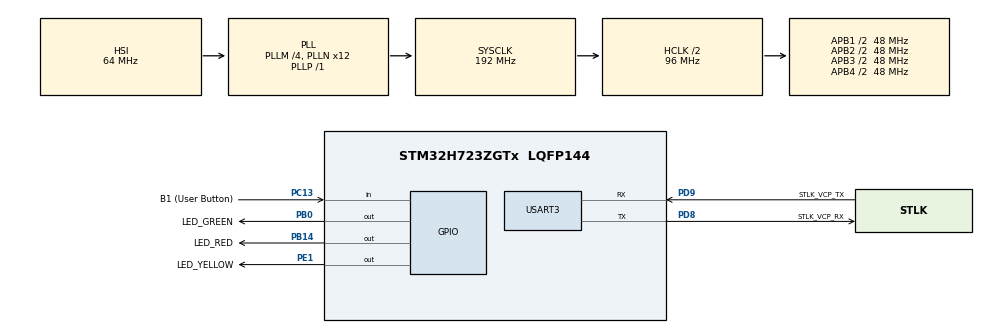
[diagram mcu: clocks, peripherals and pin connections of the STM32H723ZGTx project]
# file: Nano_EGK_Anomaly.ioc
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CORTEX_M7.default_mode_Activation=1
Mcu.Family=STM32H7
Mcu.Name=STM32H723ZGTx
Mcu.Package=LQFP144
NVIC.PriorityGroup=NVIC_PRIORITYGROUP_4
NVIC.USART3_IRQn=true\:0\:0\:false\:false\:true\:true\:true\:true
PA13(JTMS/SWDIO).GPIO_Label=SWDIO
PA13(JTMS/SWDIO).Signal=DEBUG_JTMS-SWDIO
PA14(JTCK/SWCLK).GPIO_Label=SWCLK
PA14(JTCK/SWCLK).Signal=DEBUG_JTCK-SWCLK
PB0.GPIO_Label=LED_GREEN
PB0.Signal=GPIO_Output
PB14.GPIO_Label=LED_RED
PB14.Signal=GPIO_Output
PC13.GPIO_Label=B1 (User Button)
PC13.Signal=GPIO_Input
PC14-OSC32_IN.Signal=RCC_OSC32_IN
PC15-OSC32_OUT.Signal=RCC_OSC32_OUT
PD8.GPIO_Label=STLK_VCP_RX
PD8.Mode=Asynchronous
PD8.Signal=USART3_TX
PD9.GPIO_Label=STLK_VCP_TX
PD9.Mode=Asynchronous
PD9.Signal=USART3_RX
PE1.GPIO_Label=LED_YELLOW
PE1.Signal=GPIO_Output
PH0-OSC_IN.Mode=HSE-External-Oscillator
PH0-OSC_IN.Signal=RCC_OSC_IN
PH1-OSC_OUT.Mode=HSE-External-Oscillator
PH1-OSC_OUT.Signal=RCC_OSC_OUT
ProjectManager.HeapSize=0x1000
ProjectManager.StackSize=0x1000
ProjectManager.TargetToolchain=STM32CubeIDE
RCC.ADCFreq_Value=608000000
RCC.APB1Freq_Value=48000000
RCC.APB2Freq_Value=48000000
RCC.APB3Freq_Value=48000000
RCC.APB4Freq_Value=48000000
RCC.CortexFreq_Value=192000000
RCC.D1PPRE=RCC_APB3_DIV2
RCC.D2PPRE1=RCC_APB1_DIV2
RCC.D2PPRE2=RCC_APB2_DIV2
RCC.D3PPRE=RCC_APB4_DIV2
RCC.DIVM1=4
RCC.DIVM2=1
RCC.DIVN1=12
RCC.DIVN2=19
RCC.DIVP1=1
RCC.DIVQ1=4
RCC.HCLKFreq_Value=96000000
RCC.HPRE=RCC_HCLK_DIV2
RCC.HSE_VALUE=8000000
RCC.PLLFRACN=0
RCC.SYSCLKFreq_VALUE=192000000
RCC.SYSCLKSource=RCC_SYSCLKSOURCE_PLLCLK
RCC.USBCLockSelection=RCC_USBCLKSOURCE_HSI48
RCC.USBFreq_Value=48000000
USART3.VirtualMode-Asynchronous=VM_ASYNC
VP_MEMORYMAP_VS_MEMORYMAP.Mode=CurAppReg
board=NUCLEO-H723ZG

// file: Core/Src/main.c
/* USER CODE BEGIN Header */
/**
  ******************************************************************************
  * @file           : main.c
  * @brief          : Main program body
  ******************************************************************************
  * @attention
  *
  * Copyright (c) 2025 STMicroelectronics.
  * All rights reserved.
  *
  * This software is licensed under terms that can be found in the LICENSE file
  * in the root directory of this software component.
  * If no LICENSE file comes with this software, it is provided AS-IS.
  *
  ******************************************************************************
  */
/* USER CODE END Header */
#include "main.h"

/* USER CODE BEGIN Includes */
#include "NanoEdgeAI.h"
#include "stdio.h"
#include "string.h"
/* USER CODE END Includes */

/* USER CODE BEGIN PM */
#define DATA_INPUT_USER 140
/* USER CODE END PM */

UART_HandleTypeDef huart3;

/* USER CODE BEGIN PV */

// USART3 receive buffer
static float EKG_Input[DATA_INPUT_USER];// pass to model
static uint8_t rx_chunk[4];           // Temporary buffer to hold 4 bytes of one float
static uint16_t ekg_index = 0;        // Index into EKG_Input
extern float training_data[][DATA_INPUT_USER];
extern size_t training_data_len;
/* USER CODE END PV */

void SystemClock_Config(void);
static void MPU_Config(void);
static void MX_GPIO_Init(void);
static void MX_USART3_UART_Init(void);
/* USER CODE BEGIN PFP */
enum neai_state train_model();
/* USER CODE END PFP */

int main(void)
{

  /* MPU Configuration--------------------------------------------------------*/
  MPU_Config();

  /* MCU Configuration--------------------------------------------------------*/

  /* Reset of all peripherals, Initializes the Flash interface and the Systick. */
  HAL_Init();

  /* Configure the system clock */
  SystemClock_Config();

  /* Initialize all configured peripherals */
  MX_GPIO_Init();
  MX_USART3_UART_Init();

  /* Infinite loop */
  /* USER CODE BEGIN WHILE */
  if (train_model() != NEAI_MINIMAL_RECOMMENDED_LEARNING_DONE) {
	  HAL_UART_Abort_IT(&huart3);
	  __HAL_UART_DISABLE_IT(&huart3, UART_IT_RXNE);
  } else {
  // Start UART receive in interrupt mode
	  // Request the next 4 bytes (one float)
	  HAL_StatusTypeDef hal_ret = HAL_UART_Receive_IT(&huart3, rx_chunk, sizeof(rx_chunk));

	  if(hal_ret != HAL_OK) {
		  //printf("receiveIT failed %d", hal_ret);
		  return 0;
	  }
  }

  while (1)
  {
    /* USER CODE END WHILE */

  }
}

void SystemClock_Config(void)
{
  RCC_OscInitTypeDef RCC_OscInitStruct = {0};
  RCC_ClkInitTypeDef RCC_ClkInitStruct = {0};

  /** Supply configuration update enable
  */
  HAL_PWREx_ConfigSupply(PWR_LDO_SUPPLY);

  /** Configure the main internal regulator output voltage
  */
  __HAL_PWR_VOLTAGESCALING_CONFIG(PWR_REGULATOR_VOLTAGE_SCALE2);

  while(!__HAL_PWR_GET_FLAG(PWR_FLAG_VOSRDY)) {}

  /** Initializes the RCC Oscillators according to the specified parameters
  * in the RCC_OscInitTypeDef structure.
  */
  RCC_OscInitStruct.OscillatorType = RCC_OSCILLATORTYPE_HSI;
  RCC_OscInitStruct.HSIState = RCC_HSI_DIV1;
  RCC_OscInitStruct.HSICalibrationValue = 64;
  RCC_OscInitStruct.PLL.PLLState = RCC_PLL_ON;
  RCC_OscInitStruct.PLL.PLLSource = RCC_PLLSOURCE_HSI;
  RCC_OscInitStruct.PLL.PLLM = 4;
  RCC_OscInitStruct.PLL.PLLN = 12;
  RCC_OscInitStruct.PLL.PLLP = 1;
  RCC_OscInitStruct.PLL.PLLQ = 4;
  RCC_OscInitStruct.PLL.PLLR = 2;
  RCC_OscInitStruct.PLL.PLLRGE = RCC_PLL1VCIRANGE_3;
  RCC_OscInitStruct.PLL.PLLVCOSEL = RCC_PLL1VCOWIDE;
  RCC_OscInitStruct.PLL.PLLFRACN = 0;
  if (HAL_RCC_OscConfig(&RCC_OscInitStruct) != HAL_OK)
  {
    Error_Handler();
  }

  /** Initializes the CPU, AHB and APB buses clocks
  */
  RCC_ClkInitStruct.ClockType = RCC_CLOCKTYPE_HCLK|RCC_CLOCKTYPE_SYSCLK
                              |RCC_CLOCKTYPE_PCLK1|RCC_CLOCKTYPE_PCLK2
                              |RCC_CLOCKTYPE_D3PCLK1|RCC_CLOCKTYPE_D1PCLK1;
  RCC_ClkInitStruct.SYSCLKSource = RCC_SYSCLKSOURCE_PLLCLK;
  RCC_ClkInitStruct.SYSCLKDivider = RCC_SYSCLK_DIV1;
  RCC_ClkInitStruct.AHBCLKDivider = RCC_HCLK_DIV2;
  RCC_ClkInitStruct.APB3CLKDivider = RCC_APB3_DIV2;
  RCC_ClkInitStruct.APB1CLKDivider = RCC_APB1_DIV2;
  RCC_ClkInitStruct.APB2CLKDivider = RCC_APB2_DIV2;
  RCC_ClkInitStruct.APB4CLKDivider = RCC_APB4_DIV2;

  if (HAL_RCC_ClockConfig(&RCC_ClkInitStruct, FLASH_LATENCY_1) != HAL_OK)
  {
    Error_Handler();
  }
}

static void MX_USART3_UART_Init(void)
{

  huart3.Instance = USART3;
  huart3.Init.BaudRate = 115200;
  huart3.Init.WordLength = UART_WORDLENGTH_8B;
  huart3.Init.StopBits = UART_STOPBITS_1;
  huart3.Init.Parity = UART_PARITY_NONE;
  huart3.Init.Mode = UART_MODE_TX_RX;
  huart3.Init.HwFlowCtl = UART_HWCONTROL_NONE;
  huart3.Init.OverSampling = UART_OVERSAMPLING_16;
  huart3.Init.OneBitSampling = UART_ONE_BIT_SAMPLE_DISABLE;
  huart3.Init.ClockPrescaler = UART_PRESCALER_DIV1;
  huart3.AdvancedInit.AdvFeatureInit = UART_ADVFEATURE_NO_INIT;
  if (HAL_UART_Init(&huart3) != HAL_OK)
  {
    Error_Handler();
  }
  if (HAL_UARTEx_SetTxFifoThreshold(&huart3, UART_TXFIFO_THRESHOLD_1_8) != HAL_OK)
  {
    Error_Handler();
  }
  if (HAL_UARTEx_SetRxFifoThreshold(&huart3, UART_RXFIFO_THRESHOLD_1_8) != HAL_OK)
  {
    Error_Handler();
  }
  if (HAL_UARTEx_DisableFifoMode(&huart3) != HAL_OK)
  {
    Error_Handler();
  }

}

static void MX_GPIO_Init(void)
{
  GPIO_InitTypeDef GPIO_InitStruct = {0};

  /* GPIO Ports Clock Enable */
  __HAL_RCC_GPIOC_CLK_ENABLE();
  __HAL_RCC_GPIOH_CLK_ENABLE();
  __HAL_RCC_GPIOB_CLK_ENABLE();
  __HAL_RCC_GPIOD_CLK_ENABLE();
  __HAL_RCC_GPIOA_CLK_ENABLE();
  __HAL_RCC_GPIOE_CLK_ENABLE();

  /*Configure GPIO pin Output Level */
  HAL_GPIO_WritePin(GPIOB, LED_GREEN_Pin|LED_RED_Pin, GPIO_PIN_RESET);

  /*Configure GPIO pin Output Level */
  HAL_GPIO_WritePin(LED_YELLOW_GPIO_Port, LED_YELLOW_Pin, GPIO_PIN_RESET);

  /*Configure GPIO pin : B1_Pin */
  GPIO_InitStruct.Pin = B1_Pin;
  GPIO_InitStruct.Mode = GPIO_MODE_INPUT;
  GPIO_InitStruct.Pull = GPIO_NOPULL;
  HAL_GPIO_Init(B1_GPIO_Port, &GPIO_InitStruct);

  /*Configure GPIO pins : LED_GREEN_Pin LED_RED_Pin */
  GPIO_InitStruct.Pin = LED_GREEN_Pin|LED_RED_Pin;
  GPIO_InitStruct.Mode = GPIO_MODE_OUTPUT_PP;
  GPIO_InitStruct.Pull = GPIO_NOPULL;
  GPIO_InitStruct.Speed = GPIO_SPEED_FREQ_LOW;
  HAL_GPIO_Init(GPIOB, &GPIO_InitStruct);

  /*Configure GPIO pin : LED_YELLOW_Pin */
  GPIO_InitStruct.Pin = LED_YELLOW_Pin;
  GPIO_InitStruct.Mode = GPIO_MODE_OUTPUT_PP;
  GPIO_InitStruct.Pull = GPIO_NOPULL;
  GPIO_InitStruct.Speed = GPIO_SPEED_FREQ_LOW;
  HAL_GPIO_Init(LED_YELLOW_GPIO_Port, &GPIO_InitStruct);

}

/* USER CODE BEGIN 4 */
int _write(int file, char *ptr, int len) {
    HAL_UART_Transmit(&huart3, (uint8_t*)ptr, len, HAL_MAX_DELAY);
    return len;
}

void HAL_UART_RxCpltCallback(UART_HandleTypeDef *huart)
{
	 if (huart->Instance == USART3)
	    {
	        float value;
	        memcpy(&value, rx_chunk, sizeof(float));   // Safely convert 4 bytes to float

	        EKG_Input[ekg_index++] = value;            // Store into input array

	        if (ekg_index >= DATA_INPUT_USER)
	        {
	            // All 141 floats received — call the model
	            uint8_t similarity = 0;
	            enum neai_state status = neai_anomalydetection_detect(EKG_Input, &similarity);

	            // Send status and similarity back
	            uint8_t report[2] = { (uint8_t)status, similarity };
	            HAL_UART_Transmit(&huart3, report, sizeof(report), HAL_MAX_DELAY);

	            // Reset index for next signal
	            ekg_index = 0;
	        }

	        // Request the next 4 bytes (one float)
	        HAL_UART_Receive_IT(huart, rx_chunk, sizeof(rx_chunk));
	    }
}

enum neai_state train_model()
{
    // Initialize NanoEdge AI
    enum neai_state status = neai_anomalydetection_init();

    if (status != NEAI_OK) {
        printf("NanoEdge AI init failed with errcode %d!\r\n", status);
        return status;
    }

    // Train
    for (int x = 0; x < (MINIMUM_ITERATION_CALLS_FOR_EFFICIENT_LEARNING * 100); x++) {
        for (size_t i = 0; i < training_data_len; ++i) {
            status = neai_anomalydetection_learn(training_data[i]);

            if (status == NEAI_MINIMAL_RECOMMENDED_LEARNING_DONE) {
                printf("Training complete at outer iteration %d, record %d\r\n", x, i);
                return status;
            }

            if (status != NEAI_OK && status != NEAI_NOT_ENOUGH_CALL_TO_LEARNING) {
                printf("Training failed at outer iteration %d, record %d with errcode %d\r\n", x, i, status);
                return status;  // fatal error
            }

        }
    }

    // If we finish all loops without hitting "learning done"
    printf("Training did not reach recommended threshold. Last status: %d\r\n", status);
    return status;
}

/* -----------------------------------------------------------------------------*/

/* USER CODE END 4 */

 /* MPU Configuration */

void MPU_Config(void)
{
  MPU_Region_InitTypeDef MPU_InitStruct = {0};

  /* Disables the MPU */
  HAL_MPU_Disable();

  /** Initializes and configures the Region and the memory to be protected
  */
  MPU_InitStruct.Enable = MPU_REGION_ENABLE;
  MPU_InitStruct.Number = MPU_REGION_NUMBER0;
  MPU_InitStruct.BaseAddress = 0x0;
  MPU_InitStruct.Size = MPU_REGION_SIZE_4GB;
  MPU_InitStruct.SubRegionDisable = 0x87;
  MPU_InitStruct.TypeExtField = MPU_TEX_LEVEL0;
  MPU_InitStruct.AccessPermission = MPU_REGION_NO_ACCESS;
  MPU_InitStruct.DisableExec = MPU_INSTRUCTION_ACCESS_DISABLE;
  MPU_InitStruct.IsShareable = MPU_ACCESS_SHAREABLE;
  MPU_InitStruct.IsCacheable = MPU_ACCESS_NOT_CACHEABLE;
  MPU_InitStruct.IsBufferable = MPU_ACCESS_NOT_BUFFERABLE;

  HAL_MPU_ConfigRegion(&MPU_InitStruct);
  /* Enables the MPU */
  HAL_MPU_Enable(MPU_PRIVILEGED_DEFAULT);

}

void Error_Handler(void)
{
  __disable_irq();
  while (1)
  {
  }
}
